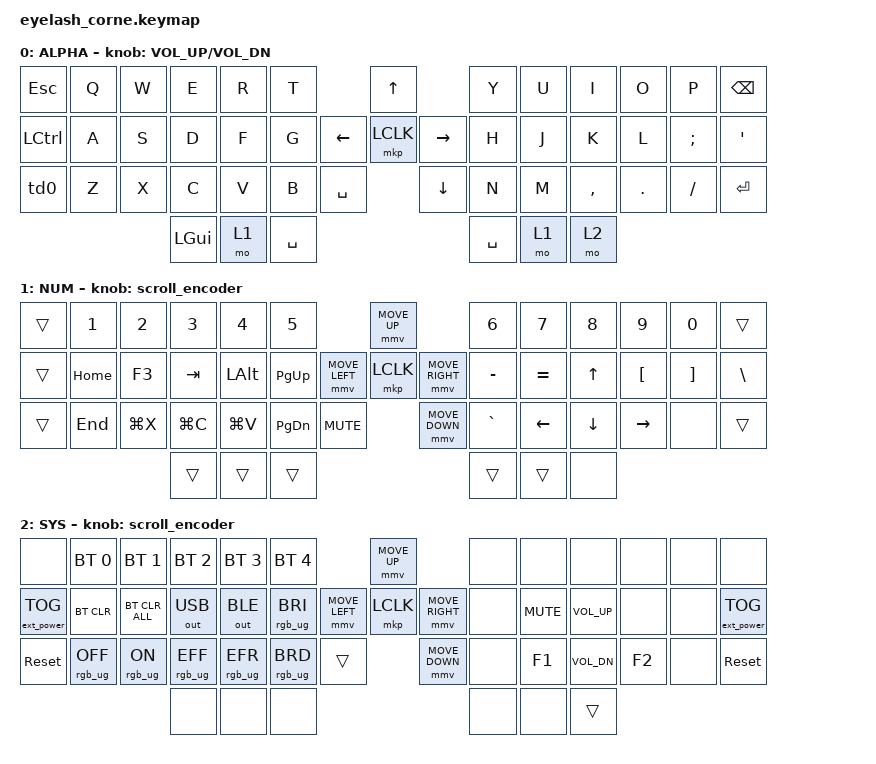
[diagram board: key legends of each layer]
/* Root-level includes allowed in .keymap */
#include <behaviors.dtsi>
#include <dt-bindings/zmk/keys.h>
#include <dt-bindings/zmk/matrix_transform.h>

/* Pull in shared bindings/macros (rename to .dtsi so it can't be accidentally treated as a full keymap) */
#include "partials/eyelash_common.dtsi"

/*
   &mmv_input_listener { input-processors = <&zip_xy_scaler 2 1>; };
   &msc_input_listener { input-processors = <&zip_xy_scaler 2 1>; };
*/

#define ZMK_MOUSE_DEFAULT_MOVE_VAL 1200  // 600
#define ZMK_MOUSE_DEFAULT_SCRL_VAL 20    // 10

/ {
    behaviors {
        td0: td0 {
            compatible = "zmk,behavior-tap-dance";
            display-name = "Shift/Caps Lock Tap Dance";
            #binding-cells = <0>;
            bindings = <&kp LEFT_SHIFT>, <&kp CAPS>;
        };
    };

    rgb_encoder: rgb_encoder {
        compatible = "zmk,behavior-sensor-rotate";
        #sensor-binding-cells = <0>;
        bindings = <&rgb_ug RGB_BRI>, <&rgb_ug RGB_BRD>;
    };

    scroll_encoder: scroll_encoder {
        compatible = "zmk,behavior-sensor-rotate";
        #sensor-binding-cells = <0>;
        bindings = <&msc SCRL_DOWN>, <&msc SCRL_UP>;

        tap-ms = <30>;
    };

    keymap {
        compatible = "zmk,keymap";

        /* ============ L0: QWERTY ============ */

        default_layer {
            display-name = "ALPHA";
            bindings = <
&kp ESC    &kp Q  &kp W  &kp E     &kp R  &kp T                             &kp UP                &kp Y      &kp U  &kp I      &kp O    &kp P     &kp BSPC
&kp LCTRL  &kp A  &kp S  &kp D     &kp F  &kp G                   &kp LEFT  &mkp LCLK  &kp RIGHT  &kp H      &kp J  &kp K      &kp L    &kp SEMI  &kp SQT
&td0       &kp Z  &kp X  &kp C     &kp V  &kp B      &kp SPACE              &kp DOWN              &kp N      &kp M  &kp COMMA  &kp DOT  &kp FSLH  &kp ENTER
                         &kp LGUI  &mo 1  &kp SPACE                                               &kp SPACE  &mo 1  &mo 2
            >;

            sensor-bindings = <&inc_dec_kp C_VOL_UP C_VOL_DN>;
        };

        /* ============ L1: NUMBER / NAV / MOUSE ============ */

        lower_layer {
            display-name = "NUM";
            bindings = <
&trans  &kp N1    &kp N2     &kp N3   &kp N4     &kp N5                                   &mmv MOVE_UP                     &kp N6     &kp N7     &kp N8    &kp N9     &kp N0    &trans
&trans  &kp HOME  &kp F3    &kp TAB  &kp LALT   &kp PG_UP                &mmv MOVE_LEFT  &mkp LCLK       &mmv MOVE_RIGHT  &kp MINUS  &kp EQUAL  &kp UP    &kp LBKT   &kp RBKT  &kp BSLH
&trans  &kp END   &kp LG(X)  &kp LG(C)  &kp LG(V)  &kp PG_DN  &kp C_MUTE                    &mmv MOVE_DOWN                   &kp GRAVE  &kp LEFT   &kp DOWN  &kp RIGHT  &none     &trans
                             &trans   &trans     &trans                                                                    &trans     &trans     &none
            >;

            sensor-bindings = <&scroll_encoder>;
        };

        /* ============ L2: SYSTEM / RGB / BT ============ */

        raise_layer {
            display-name = "SYS";
            bindings = <
&none      &bt BT_SEL 0     &bt BT_SEL 1    &bt BT_SEL 2     &bt BT_SEL 3     &bt BT_SEL 4                               &mmv MOVE_UP                     &none  &none   &none   &none    &none  &none
&ext_power EP_TOG  &bt BT_CLR       &bt BT_CLR_ALL  &out OUT_USB     &out OUT_BLE     &rgb_ug RGB_BRI            &mmv MOVE_LEFT  &mkp LCLK       &mmv MOVE_RIGHT  &none   &kp C_MUTE    &kp C_VOL_UP    &none      &none    &ext_power EP_TOG
&sys_reset  &rgb_ug RGB_OFF  &rgb_ug RGB_ON  &rgb_ug RGB_EFF  &rgb_ug RGB_EFR  &rgb_ug RGB_BRD  &trans                    &mmv MOVE_DOWN                   &none   &kp F1  &kp C_VOL_DN  &kp F2  &none    &sys_reset
                                             &none           &none           &none                                                                      &none  &none    &trans
            >;

            sensor-bindings = <&scroll_encoder>;
        };
    };
};
